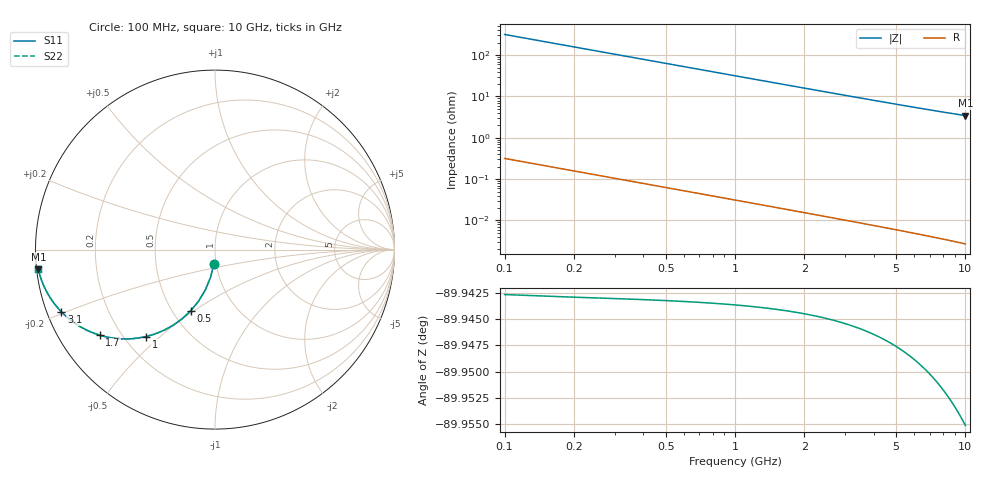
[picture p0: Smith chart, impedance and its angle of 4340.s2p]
# Hz S RI R 50.00
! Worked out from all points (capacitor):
!   100 points, 100 MHz to 10 GHz, reference 50 ohm
!   read as one part in shunt: C = 5.02 pF near 100 MHz
!   lowest |Z| = 3.46 ohm at 10 GHz (marker M1)
!   S11 on the Smith chart (normalised r, x): 100 MHz: 0.98, -0.15; 500 MHz: 0.62, -0.49; 1 GHz: 0.29, -0.45; 1.7 GHz: 0.12, -0.33; 3.1 GHz: 0.04, -0.19; 10 GHz: 0.00, -0.06
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1e8  -0.00624 -0.0783  0.9937 -0.0785  0.9937 -0.0785  -0.00624 -0.0783
2e8  -0.0244 -0.1536  0.9755 -0.1541  0.9755 -0.1541  -0.0244 -0.1536
3e8  -0.0532 -0.2236  0.9468 -0.2243  0.9468 -0.2243  -0.0532 -0.2236
4e8  -0.0907 -0.2862  0.9092 -0.2872  0.9092 -0.2872  -0.0907 -0.2862
5e8  -0.1347 -0.3404  0.8652 -0.3416  0.8652 -0.3416  -0.1347 -0.3404
6e8  -0.1831 -0.3855  0.8169 -0.387  0.8169 -0.387  -0.1831 -0.3855
7e8  -0.2336 -0.4218  0.7663 -0.4235  0.7663 -0.4235  -0.2336 -0.4218
8e8  -0.2846 -0.4498  0.7153 -0.4517  0.7153 -0.4517  -0.2846 -0.4498
1e9  -0.3831 -0.4844  0.6168 -0.4869  0.6168 -0.4869  -0.3831 -0.4844
1.3e9  -0.5117 -0.4977  0.4882 -0.501  0.4882 -0.501  -0.5117 -0.4977
1.5e9  -0.5823 -0.4908  0.4176 -0.4945  0.4176 -0.4945  -0.5823 -0.4908
1.7e9  -0.6415 -0.4769  0.3585 -0.4812  0.3585 -0.4812  -0.6415 -0.4769
1.8e9  -0.6672 -0.4684  0.3327 -0.473  0.3327 -0.473  -0.6672 -0.4684
2.1e9  -0.7316 -0.44  0.2683 -0.4452  0.2683 -0.4452  -0.7316 -0.44
2.4e9  -0.7805 -0.4103  0.2194 -0.4164  0.2194 -0.4164  -0.7805 -0.4103
3.1e9  -0.8556 -0.3471  0.1444 -0.3549  0.1444 -0.3549  -0.8556 -0.3471
3.4e9  -0.8769 -0.3237  0.123 -0.3324  0.123 -0.3324  -0.8769 -0.3237
4.2e9  -0.9157 -0.2719  0.0842 -0.2827  0.0842 -0.2827  -0.9157 -0.2719
5.1e9  -0.9412 -0.2279  0.0586 -0.2411  0.0586 -0.2411  -0.9412 -0.2279
6.7e9  -0.9652 -0.1736  0.0346 -0.1912  0.0346 -0.1912  -0.9652 -0.1736
8.4e9  -0.9778 -0.1352  0.0219 -0.1576  0.0219 -0.1576  -0.9778 -0.1352
1e10  -0.9843 -0.1093  0.0152 -0.1363  0.0152 -0.1363  -0.9843 -0.1093
